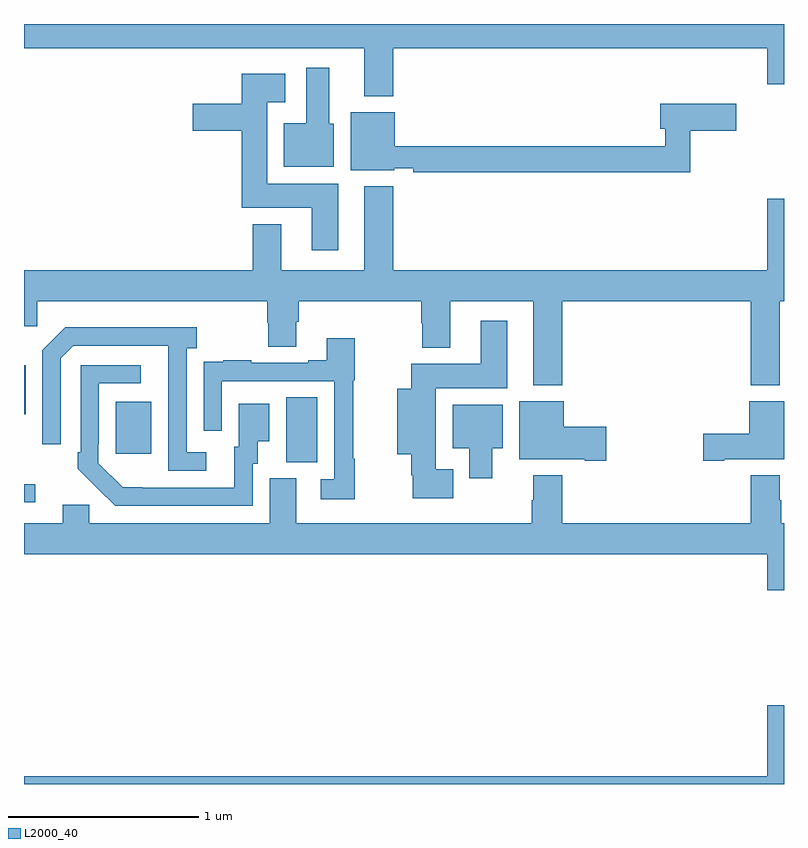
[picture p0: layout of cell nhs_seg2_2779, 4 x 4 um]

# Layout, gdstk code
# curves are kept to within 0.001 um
import gdstk
lib = gdstk.Library(unit=1e-6, precision=1e-09)
def R(c, l, rs):  # rectangles x0, y0, x1, y1
    for r in rs: c.add(gdstk.rectangle(r[:2], r[2:], *l))
def P(c, l, *ps):  # polygons
    for p in ps: c.add(gdstk.Polygon(p, *l))
L2000_40 = (2000, 40)

nhs_seg2_2779 = lib.new_cell('nhs_seg2_2779')
R(nhs_seg2_2779, L2000_40, [(257,609.282,257.059,609.378), (258.38,609.493,258.544,609.836), (257.483,609.537,257.671,609.811), (257,609.746,257.008,610.003)])
P(nhs_seg2_2779, L2000_40, [(260.912,611.484),(261,611.484),(261,611.8),(257,611.8),(257,611.672),(258.791,611.672),(258.791,611.42),(258.944,611.42),(258.944,611.672),(260.912,611.672)],
  [(258.631,611.274),(258.607,611.274),(258.607,611.569),(258.485,611.569),(258.485,611.278),(258.368,611.278),(258.368,611.048),(258.631,611.048)],
  [(258.655,610.96),(258.28,610.96),(258.28,611.387),(258.376,611.387),(258.376,611.539),(258.146,611.539),(258.146,611.379),(257.889,611.379),(257.889,611.237),(258.146,611.237),(258.146,610.832),(258.515,610.832),(258.515,610.608),(258.655,610.608)],
  [(260.507,611.237),(260.749,611.237),(260.749,611.379),(260.348,611.379),(260.348,611.249),(260.375,611.249),(260.375,611.156),(258.952,611.156),(258.952,611.335),(258.719,611.335),(258.719,611.03),(258.948,611.03),(258.948,611.04),(259.048,611.04),(259.048,611.02),(260.507,611.02)],
  [(259.832,610.34),(260.825,610.34),(260.825,609.899),(260.977,609.899),(260.977,610.34),(261,610.34),(261,610.879),(260.912,610.879),(260.912,610.504),(258.944,610.504),(258.944,610.945),(258.791,610.945),(258.791,610.504),(258.355,610.504),(258.355,610.747),(258.203,610.747),(258.203,610.504),(257,610.504),(257,610.209),(257.07,610.209),(257.07,610.34),(258.281,610.34),(258.281,610.227),(258.286,610.227),(258.286,610.102),(258.433,610.102),(258.433,610.234),(258.446,610.234),(258.446,610.34),(259.091,610.34),(259.091,610.224),(259.096,610.224),(259.096,610.097),(259.243,610.097),(259.243,610.34),(259.679,610.34),(259.679,609.899),(259.832,609.899)],
  [(259.258,609.457),(259.168,609.457),(259.168,609.884),(259.543,609.884),(259.543,610.237),(259.403,610.237),(259.403,610.012),(259.039,610.012),(259.039,609.88),(258.965,609.88),(258.965,609.536),(259.039,609.536),(259.039,609.425),(259.046,609.425),(259.046,609.305),(259.258,609.305)],
  [(257.959,609.546),(257.856,609.546),(257.856,610.094),(257.908,610.094),(257.908,610.204),(257.218,610.204),(257.097,610.083),(257.097,609.588),(257.193,609.588),(257.193,610.041),(257.259,610.107),(257.759,610.107),(257.76,609.45),(257.959,609.45)],
  [(258.742,609.512),(258.732,609.512),(258.732,609.924),(258.742,609.924),(258.742,610.147),(258.593,610.147),(258.593,610.03),(258.497,610.03),(258.497,610.017),(258.197,610.017),(258.197,610.03),(258.049,610.03),(258.049,610.023),(257.947,610.023),(257.947,609.914),(257.946,609.914),(257.946,609.66),(258.042,609.66),(258.042,609.921),(258.633,609.921),(258.633,609.405),(258.561,609.405),(258.561,609.3),(258.742,609.3)],
  [(258.204,609.486),(258.229,609.486),(258.229,609.605),(258.292,609.605),(258.292,609.802),(258.131,609.802),(258.131,609.576),(258.107,609.576),(258.107,609.36),(257.52,609.361),(257.391,609.489),(257.391,609.589),(257.394,609.589),(257.394,609.909),(257.614,609.909),(257.614,610.005),(257.298,610.005),(257.298,609.547),(257.283,609.547),(257.283,609.459),(257.48,609.264),(258.204,609.264)],
  [(260.686,609.509),(261,609.509),(261,609.814),(260.816,609.814),(260.816,609.644),(260.574,609.644),(260.574,609.502),(260.686,609.502)],
  [(260.065,609.68),(259.84,609.68),(259.84,609.814),(259.607,609.814),(259.607,609.509),(259.952,609.509),(259.952,609.502),(260.065,609.502)],
  [(259.465,609.566),(259.519,609.566),(259.519,609.796),(259.256,609.796),(259.256,609.566),(259.343,609.566),(259.343,609.408),(259.465,609.408)],
  [(261,609.172),(260.985,609.172),(260.985,609.293),(260.977,609.293),(260.977,609.424),(260.825,609.424),(260.825,609.172),(259.832,609.172),(259.832,609.424),(259.679,609.424),(259.679,609.293),(259.672,609.293),(259.672,609.172),(258.433,609.172),(258.433,609.408),(258.293,609.408),(258.293,609.172),(257.343,609.172),(257.343,609.27),(257.204,609.27),(257.204,609.172),(257,609.172),(257,609.008),(260.912,609.008),(260.912,608.82),(261,608.82)],
  [(261,608.215),(260.912,608.215),(260.912,607.84),(257,607.84),(257,607.8),(261,607.8)])

lib.write_gds('nhs_seg2_2779.gds')
